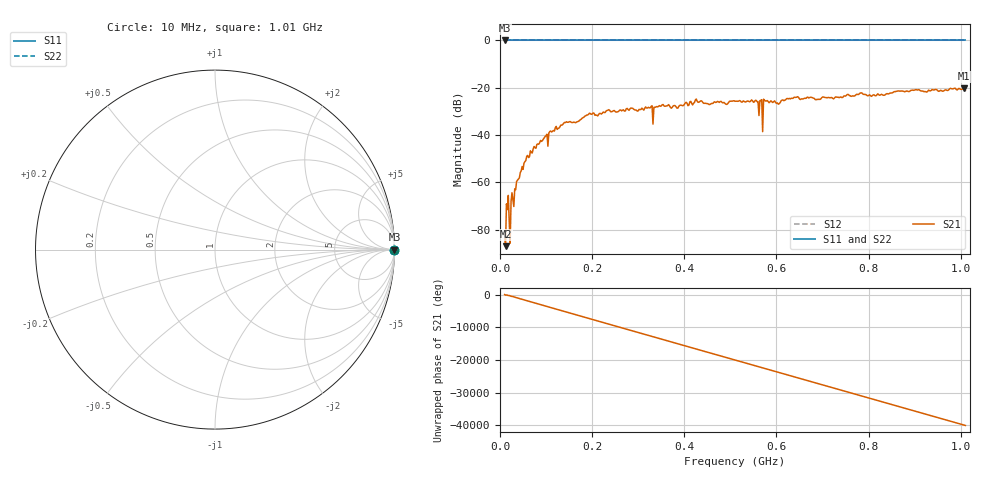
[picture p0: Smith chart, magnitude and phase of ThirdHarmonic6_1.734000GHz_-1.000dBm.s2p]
! 8/16/2025 8:53:46 PM
! C:\ANRITSUVNA\TEMP\TEMP.S2P
! CHANNEL.1
! TR.MEASUREMENT
! RAW.DATA
! RF.CORRECTION.OFF
! AVERAGING.OFF
! IF.BANDWIDTH: 5KHZ
! SWEEPTYPE:  FREQ.SWEEP(Linear)
! Reference Plane Port Info
! PORT:  PORT1  PORT2
! DISTANCE:  0  m  0  m
! TIME:  0  s  0  s
! PHASE.OFFSET:  0  deg.  0  deg.
! LOSS:  0  dB  0  dB
! REF.LOSS:  0  dB  0  dB
! REF.FREQ:  0  Hz  0  Hz
! Power Info
! POWER:  -20  dBm  -20  dBm
! EFF.POWER:  -20  dBm  -20  dBm
! SOURCE.ATTEN:  0  dB  0  dB
! TEST.ATTEN:  0  dB  0  dB
# GHZ S RI R 50.0
! FREQ.GHZ  S11RE  S11IM  S21RE  S21IM  S12RE  S12IM  S22RE  S22IM
!; PortSelection: Port_12
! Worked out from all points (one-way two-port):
!   501 points, 10 MHz to 1.01 GHz, reference 50 ohm
!   highest |S21| = -20.15 dB at 1.006 GHz (marker M1); lowest = -87.0 dB at 12 MHz (marker M2)
!   lowest |S11| = 0.0 dB at 10 MHz (marker M3)
!   |S11| at or under -10 dB: nowhere
!   |S22| runs from 0.0 to 0.0 dB; largest |S21 - S12| = 1.1
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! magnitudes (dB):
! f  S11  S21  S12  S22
! 10 MHz  0.0  -80.7  0.0  0.0
! 12 MHz  0.0  -87.0  0.0  0.0
! 14 MHz  0.0  -69.1  0.0  0.0
! 24 MHz  0.0  -68.0  0.0  0.0
! 36 MHz  0.0  -59.6  0.0  0.0
! 48 MHz  0.0  -53.3  0.0  0.0
! 70 MHz  0.0  -47.6  0.0  0.0
! 110 MHz  0.0  -38.3  0.0  0.0
! 178 MHz  0.0  -32.9  0.0  0.0
! 234 MHz  0.0  -29.5  0.0  0.0
! 336 MHz  0.0  -28.3  0.0  0.0
! 344 MHz  0.0  -27.9  0.0  0.0
! 510 MHz  0.0  -25.7  0.0  0.0
! 556 MHz  0.0  -25.3  0.0  0.0
! 564 MHz  0.0  -25.4  0.0  0.0
! 566 MHz  0.0  -25.4  0.0  0.0
! 574 MHz  0.0  -25.3  0.0  0.0
! 576 MHz  0.0  -25.6  0.0  0.0
! 678 MHz  0.0  -24.2  0.0  0.0
! 844 MHz  0.0  -22.6  0.0  0.0
! 1.006 GHz  0.0  -20.2  0.0  0.0
! 1.01 GHz  0.0  -21.2  0.0  0.0
